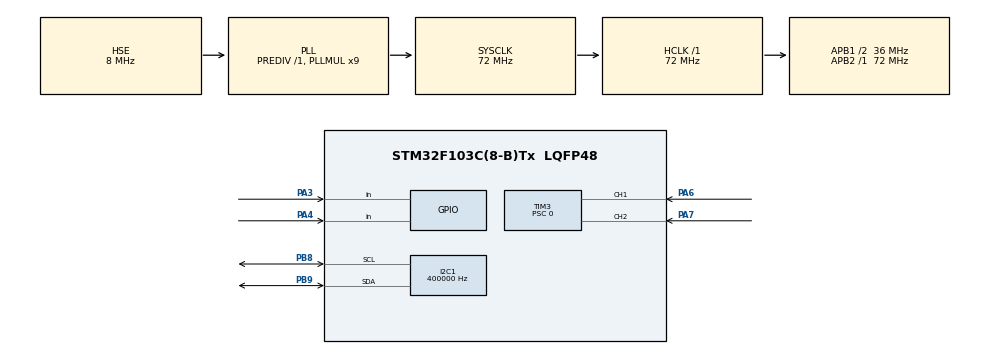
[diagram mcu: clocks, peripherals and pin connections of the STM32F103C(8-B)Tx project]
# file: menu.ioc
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I2C1.ClockSpeed=400000
I2C1.I2C_Mode=I2C_Fast
Mcu.Family=STM32F1
Mcu.Name=STM32F103C(8-B)Tx
Mcu.Package=LQFP48
NVIC.PriorityGroup=NVIC_PRIORITYGROUP_4
NVIC.TIM2_IRQn=true\:0\:0\:false\:false\:true\:true\:true\:true
PA13.Mode=Serial_Wire
PA13.Signal=SYS_JTMS-SWDIO
PA14.Mode=Serial_Wire
PA14.Signal=SYS_JTCK-SWCLK
PA3.GPIO_PuPd=GPIO_PULLUP
PA3.Signal=GPIO_Input
PA4.GPIO_PuPd=GPIO_PULLUP
PA4.Signal=GPIO_Input
PA6.Signal=S_TIM3_CH1
PA7.Signal=S_TIM3_CH2
PB8.Mode=I2C
PB8.Signal=I2C1_SCL
PB9.Mode=I2C
PB9.Signal=I2C1_SDA
PC14-OSC32_IN.Mode=LSE-External-Oscillator
PC14-OSC32_IN.Signal=RCC_OSC32_IN
PC15-OSC32_OUT.Mode=LSE-External-Oscillator
PC15-OSC32_OUT.Signal=RCC_OSC32_OUT
PD0-OSC_IN.Mode=HSE-External-Oscillator
PD0-OSC_IN.Signal=RCC_OSC_IN
PD1-OSC_OUT.Mode=HSE-External-Oscillator
PD1-OSC_OUT.Signal=RCC_OSC_OUT
ProjectManager.HeapSize=0x200
ProjectManager.StackSize=0x400
ProjectManager.TargetToolchain=MDK-ARM V5.32
RCC.AHBFreq_Value=72000000
RCC.APB1CLKDivider=RCC_HCLK_DIV2
RCC.APB1Freq_Value=36000000
RCC.APB1TimFreq_Value=72000000
RCC.APB2Freq_Value=72000000
RCC.APB2TimFreq_Value=72000000
RCC.HCLKFreq_Value=72000000
RCC.PLLMUL=RCC_PLL_MUL9
RCC.PLLSourceVirtual=RCC_PLLSOURCE_HSE
RCC.SYSCLKFreq_VALUE=72000000
RCC.SYSCLKSource=RCC_SYSCLKSOURCE_PLLCLK
RCC.USBFreq_Value=72000000
RTC.Date=13
RTC.Format=RTC_FORMAT_BCD
RTC.Hours=13
RTC.Minutes=51
RTC.Month=RTC_MONTH_DECEMBER
RTC.OutPut=RTC_OUTPUTSOURCE_ALARM
RTC.WeekDay=RTC_WEEKDAY_SATURDAY
RTC.Year=25
SH.S_TIM3_CH1.0=TIM3_CH1,Encoder_Interface
SH.S_TIM3_CH2.0=TIM3_CH2,Encoder_Interface
TIM2.AutoReloadPreload=TIM_AUTORELOAD_PRELOAD_ENABLE
TIM2.Period=1999
TIM2.Prescaler=7199
TIM3.EncoderMode=TIM_ENCODERMODE_TI12
TIM3.IC1Filter=0xf
TIM3.IC2Filter=0xf
TIM3.Prescaler=0
VP_RTC_VS_RTC_Activate.Mode=RTC_Enabled
VP_RTC_VS_RTC_Calendar.Mode=RTC_Calendar
VP_TIM2_VS_ClockSourceINT.Mode=Internal
board=custom

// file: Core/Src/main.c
/* USER CODE BEGIN Header */
/**
  ******************************************************************************
  * @file           : main.c
  * @brief          : Main program body
  ******************************************************************************
  * @attention
  *
  * Copyright (c) 2025 STMicroelectronics.
  * All rights reserved.
  *
  * This software is licensed under terms that can be found in the LICENSE file
  * in the root directory of this software component.
  * If no LICENSE file comes with this software, it is provided AS-IS.
  *
  ******************************************************************************
  */
/* USER CODE END Header */
#include "main.h"
#include "i2c.h"
#include "rtc.h"
#include "tim.h"
#include "gpio.h"

/* USER CODE BEGIN Includes */
#include "u8g2.h"												//导入u8g2库
#include "key.h"												//自定义按键
#include "string.h"
#include <math.h>
#include "encoder.h"										//自定义旋转编码器
#include "stdio.h"
/* USER CODE END Includes */

/* USER CODE BEGIN PV */
u8g2_t u8g2;														//u8g2句柄
#define OLED_I2C_ADDR   (0x3C<<1)				//OLED地址
/* USER CODE END PV */

void SystemClock_Config(void);

/* USER CODE BEGIN 0 */
																				//硬件II2
uint8_t u8x8_byte_hw_i2c(u8x8_t *u8x8, uint8_t msg, uint8_t arg_int, void *arg_ptr)
{
    static uint8_t  buffer[128];
    static uint8_t  buf_idx;

    switch(msg)
    {
    case U8X8_MSG_BYTE_INIT:
        break;
    case U8X8_MSG_BYTE_START_TRANSFER:
        buf_idx = 0;
        break;
    case U8X8_MSG_BYTE_SEND:
        {
            uint8_t *data = (uint8_t*)arg_ptr;
            while(arg_int--) buffer[buf_idx++] = *data++;
        }
        break;
    case U8X8_MSG_BYTE_END_TRANSFER:
        HAL_I2C_Master_Transmit(&hi2c1, OLED_I2C_ADDR,
                                buffer, buf_idx, 200);
        break;
    default:
        return 0;
    }
    return 1;
}

																				//u8g2延时函数
uint8_t u8x8_gpio_and_delay_stm32f1(u8x8_t *u8x8, uint8_t msg, uint8_t arg_int, void *arg_ptr)
{
    switch(msg)
    {
    case U8X8_MSG_DELAY_MILLI:
        HAL_Delay(arg_int);
        break;
    case U8X8_MSG_DELAY_I2C:
        for(uint16_t i=0;i<5*arg_int;i++) __NOP();
        break;
    default:
        return 0;
    }
    return 1;
}

void u8g2_init(void){										//u8g2初始化
	u8g2_Setup_ssd1306_i2c_128x64_noname_f(&u8g2,U8G2_R0,u8x8_byte_hw_i2c,u8x8_gpio_and_delay_stm32f1);		//硬件IIC
	u8g2_InitDisplay(&u8g2);
  u8g2_SetPowerSave(&u8g2, 0);
}

																				//动画函数
void animation(float *a, float *a_trg,int16_t n)
{
  if (*a != *a_trg)
  {
    if (fabs(*a - *a_trg) < 0.05f) *a = *a_trg;
    else *a += (*a_trg - *a) / (n / 10.0f);
  }
}

#define img_width 30										//菜单图标宽度
#define img_height 30										//菜单图标高度

																				//菜单图标
static uint8_t menu_img1[] = {
  0x00, 0x00, 0x00, 0x00, 0x00, 0x00, 0x00, 0x00,
  0x00, 0xff, 0x3f, 0x00, 0xc0, 0xff, 0xff, 0x00,
  0xc0, 0xff, 0xff, 0x00, 0xe0, 0xff, 0xff, 0x01,
  0xe0, 0xff, 0xff, 0x01, 0xf0, 0xff, 0xff, 0x03,
  0xf0, 0xff, 0xff, 0x03, 0xf8, 0xff, 0xff, 0x07,
  0xf8, 0xff, 0xff, 0x07, 0xfc, 0xff, 0xff, 0x0f,
  0xfc, 0x1f, 0xfe, 0x0f, 0xfe, 0x0f, 0xfc, 0x1f,
  0xfe, 0x0f, 0xfc, 0x1f, 0xfe, 0x0f, 0xfc, 0x1f,
  0xfe, 0x0f, 0xfc, 0x1f, 0xfc, 0x1f, 0xfe, 0x0f,
  0xfc, 0xff, 0xff, 0x0f, 0xf8, 0xff, 0xff, 0x07,
  0xf8, 0xff, 0xff, 0x07, 0xf0, 0xff, 0xff, 0x03,
  0xf0, 0xff, 0xff, 0x03, 0xe0, 0xff, 0xff, 0x01,
  0xe0, 0xff, 0xff, 0x01, 0xc0, 0xff, 0xff, 0x00,
  0xc0, 0xff, 0xff, 0x00, 0x00, 0xff, 0x3f, 0x00,
  0x00, 0x00, 0x00, 0x00, 0x00, 0x00, 0x00, 0x00
};

static uint8_t menu_img2[] = {
	0x00, 0x00, 0x00, 0x00, 0x00, 0x00, 0x00, 0x00,
  0x00, 0x00, 0x00, 0x00, 0xfe, 0xff, 0x07, 0x00,
  0xff, 0xff, 0x0f, 0x00, 0xff, 0xff, 0xff, 0x1f,
  0xff, 0xff, 0xff, 0x3f, 0xff, 0xff, 0xff, 0x3f,
  0xff, 0xff, 0xff, 0x3f, 0xff, 0xff, 0xff, 0x3f,
  0x00, 0x00, 0x00, 0x00, 0x00, 0x00, 0x00, 0x00,
  0xff, 0xff, 0xff, 0x3f, 0xff, 0xff, 0xff, 0x3f,
  0xff, 0xff, 0xff, 0x3f, 0xff, 0xff, 0xff, 0x3f,
  0xff, 0xff, 0xff, 0x3f, 0xff, 0xff, 0xff, 0x3f,
  0xff, 0xff, 0xff, 0x3f, 0xff, 0xff, 0xff, 0x3f,
  0xff, 0xff, 0xff, 0x3f, 0xff, 0xff, 0xff, 0x3f,
  0xff, 0xff, 0xff, 0x3f, 0xff, 0xff, 0xff, 0x3f,
  0xff, 0xff, 0xff, 0x3f, 0xff, 0xff, 0xff, 0x3f,
  0xfe, 0xff, 0xff, 0x1f, 0x00, 0x00, 0x00, 0x00,
  0x00, 0x00, 0x00, 0x00, 0x00, 0x00, 0x00, 0x00
};

static uint8_t menu_img3[] = {
  0x00, 0x00, 0x00, 0x00, 0x00, 0xe0, 0x00, 0x00,
  0x00, 0xa0, 0x00, 0x00, 0x00, 0xe0, 0x00, 0x00,
  0x00, 0x40, 0x00, 0x00, 0x00, 0x40, 0x00, 0x00,
  0x00, 0x40, 0x00, 0x00, 0x00, 0x40, 0x00, 0x00,
  0x00, 0x40, 0x00, 0x00, 0x00, 0x40, 0x00, 0x00,
  0x00, 0x40, 0x00, 0x00, 0x00, 0x40, 0x00, 0x00,
  0x00, 0xe0, 0x00, 0x00, 0x00, 0xf0, 0x01, 0x00,
  0xfe, 0xff, 0xff, 0x1f, 0xff, 0xff, 0xff, 0x3f,
  0xff, 0xff, 0xff, 0x3f, 0xff, 0xff, 0xff, 0x3f,
  0x3f, 0xfc, 0x9f, 0x3f, 0x9f, 0xf9, 0x9f, 0x3f,
  0xcf, 0xf3, 0x9f, 0x3f, 0xef, 0xf7, 0x03, 0x3c,
  0xef, 0xf7, 0x03, 0x3c, 0xcf, 0xf3, 0x9f, 0x3f,
  0x9f, 0xf9, 0x9f, 0x3f, 0x3f, 0xfc, 0x9f, 0x3f,
  0xff, 0xff, 0xff, 0x3f, 0xff, 0xff, 0xff, 0x3f,
  0xff, 0xff, 0xff, 0x3f, 0xfe, 0xff, 0xff, 0x1f
};

static uint8_t menu_img4[] = {
  0x00, 0x00, 0x00, 0x00, 0x78, 0x00, 0x80, 0x07,
  0x7c, 0x00, 0x80, 0x0f, 0x0e, 0x00, 0x00, 0x1c,
  0x06, 0x00, 0x00, 0x18, 0x06, 0x00, 0x00, 0x18,
  0x06, 0x00, 0x00, 0x18, 0x00, 0x00, 0x00, 0x00,
  0x00, 0x00, 0x00, 0x00, 0x00, 0x00, 0x00, 0x00,
  0x00, 0x00, 0x00, 0x00, 0x00, 0x00, 0x00, 0x00,
  0x00, 0x00, 0x00, 0x00, 0x00, 0x00, 0x00, 0x00,
  0x00, 0x00, 0x00, 0x00, 0x00, 0x00, 0x00, 0x00,
  0x00, 0x00, 0x00, 0x00, 0x00, 0x00, 0x00, 0x00,
  0x00, 0x00, 0x00, 0x00, 0x00, 0x00, 0x00, 0x00,
  0x00, 0x00, 0x00, 0x00, 0x00, 0x00, 0x00, 0x00,
  0x00, 0x00, 0x00, 0x00, 0x06, 0x00, 0x00, 0x18,
  0x06, 0x00, 0x00, 0x18, 0x06, 0x00, 0x00, 0x18,
  0x0e, 0x00, 0x00, 0x1c, 0xfc, 0x00, 0x80, 0x0f,
  0xf8, 0x00, 0x80, 0x07, 0x00, 0x00, 0x00, 0x00
};

static uint8_t menu_img5[] = {
  0x00, 0x00, 0x00, 0x00, 0x78, 0x00, 0x80, 0x07,
  0x7c, 0x00, 0x80, 0x0f, 0x0e, 0x00, 0x00, 0x1c,
  0x06, 0x00, 0x00, 0x18, 0x06, 0x00, 0x00, 0x18,
  0x06, 0x00, 0x00, 0x18, 0x00, 0x00, 0x00, 0x00,
  0x00, 0x00, 0x00, 0x00, 0x00, 0x00, 0x00, 0x00,
  0x00, 0x00, 0x00, 0x00, 0x00, 0x00, 0x00, 0x00,
  0x00, 0x00, 0x00, 0x00, 0x00, 0x00, 0x00, 0x00,
  0x00, 0x00, 0x00, 0x00, 0x00, 0x00, 0x00, 0x00,
  0x00, 0x00, 0x00, 0x00, 0x00, 0x00, 0x00, 0x00,
  0x00, 0x00, 0x00, 0x00, 0x00, 0x00, 0x00, 0x00,
  0x00, 0x00, 0x00, 0x00, 0x00, 0x00, 0x00, 0x00,
  0x00, 0x00, 0x00, 0x00, 0x06, 0x00, 0x00, 0x18,
  0x06, 0x00, 0x00, 0x18, 0x06, 0x00, 0x00, 0x18,
  0x0e, 0x00, 0x00, 0x1c, 0xfc, 0x00, 0x80, 0x0f,
  0xf8, 0x00, 0x80, 0x07, 0x00, 0x00, 0x00, 0x00
};

static uint8_t menu_img6[] = {
  0x00, 0x00, 0x00, 0x00, 0x78, 0x00, 0x80, 0x07,
  0x7c, 0x00, 0x80, 0x0f, 0x0e, 0x00, 0x00, 0x1c,
  0x06, 0x00, 0x00, 0x18, 0x06, 0x00, 0x00, 0x18,
  0x06, 0x00, 0x00, 0x18, 0x00, 0x00, 0x00, 0x00,
  0x00, 0x00, 0x00, 0x00, 0x00, 0x00, 0x00, 0x00,
  0x00, 0x00, 0x00, 0x00, 0x00, 0x00, 0x00, 0x00,
  0x00, 0x00, 0x00, 0x00, 0x00, 0x00, 0x00, 0x00,
  0x00, 0x00, 0x00, 0x00, 0x00, 0x00, 0x00, 0x00,
  0x00, 0x00, 0x00, 0x00, 0x00, 0x00, 0x00, 0x00,
  0x00, 0x00, 0x00, 0x00, 0x00, 0x00, 0x00, 0x00,
  0x00, 0x00, 0x00, 0x00, 0x00, 0x00, 0x00, 0x00,
  0x00, 0x00, 0x00, 0x00, 0x06, 0x00, 0x00, 0x18,
  0x06, 0x00, 0x00, 0x18, 0x06, 0x00, 0x00, 0x18,
  0x0e, 0x00, 0x00, 0x1c, 0xfc, 0x00, 0x80, 0x0f,
  0xf8, 0x00, 0x80, 0x07, 0x00, 0x00, 0x00, 0x00
};

static uint8_t *menu_imgs[] = {
	menu_img1,														//设置图标
	menu_img2,														//文件夹图标
	menu_img3,														//游戏图标
	menu_img4,														//空白图标
	menu_img5,														//空白图标
	menu_img6,														//空白图标
};

#define MENU_NUM 6											//菜单元素数目
#define SETTING_NUM 2										//设置元素数目
#define FOLDER_NUM 9										//文件夹元素数目
#define GAME_NUM 3											//游戏元素数目

int16_t keynum = 0;											//按键值(有前进后退两个按键)
int16_t encodernum;											//旋钮值
int16_t state = 0;											//当前页面(对应enum菜单层级的内容)
int16_t previous_state = 0;							//前一个页面(对应enum菜单层级的内容)
struct tm timedate;											//时间

enum 																		//菜单层级
{
  M_OPEN,																//开机动画
		M_MENU,															//菜单
			M_SETTING,												//设置
			M_FOLDER,													//文件夹
			M_GAME,														//游戏
				M_WINDOW,												//弹窗
};

typedef struct fps{											//帧率结构体(由于设置的定时时间是0.2s，所有需要b+5次a读取一次)
	uint16_t a;
	uint16_t b;
}FPS;

typedef	struct frame{										//矩形结构体(所有显示内容都是通过这个结构体实现的)
	float frame_x;												//目标x
	float frame_y;												//目标y
	float frame_w;												//目标w
	float frame_h;												//目标h
	float frame_old_x;										//目标x
	float frame_old_y;										//当前y
	float frame_old_w;										//当前w
	float frame_old_h;										//当前h
}FRAME;

typedef	struct text{										//文本结构体(用于和矩形结构体结合显示文字内容)
	char *str;														//文字
	int select;														//点击确定之后会进入的页面(对应enum菜单层级的内容)
	int value;														//显示该文本对应的数值，值为0-100，填-1表示该文本不显示数值
}TEXT;

typedef	struct m_state{									//页面状态结构体
	int select;														//该页面点击确定之后会进入的页面(对应enum菜单层级的内容)
	int state;														//当前页面状态，0是不在运行，1是在运行，同一时间只有一个1
	int previous;													//上一个页面对应的enum值
	int number;														//如果该页面有多个元素，记录该页面选中的是哪一个元素
	int list_num;													//该页面有几个元素(主要是为了将相似的SETTING,FOLDER,GAME页面功能合并在一起，只需要传入该结构体就可以区分这三个页面)
	TEXT *list_text;											//文本结构体
	FRAME *m_lists;												//矩形结构体
	void (*m_init)(FRAME *m_lists,TEXT *list_text,int LIST_NUM);   //用于SETTING,FOLDER,GAME页面，记录初始化函数
}M_STATE;

FPS fps;																//fps结构体实例化

TEXT menu_text[] = {										//菜单文本
	{"Setting",2,-1},
	{"Folder",3,-1},
	{"Game",4,-1},
	{"None",1,-1},
	{"None",1,-1},
	{"None",1,-1},
};

TEXT setting_text[] = {									//设置文本
	{"reset",0,-1},
	{"light",5,100},
};

TEXT folder_text[] = {									//文件夹文本
	{"Text1",3,-1},
	{"Tggt2",3,-1},
	{"Text3",3,-1},
	{"Welcome",3,-1},
	{"Gnosis",3,-1},
	{"1",3,-1},
	{"0-000",3,-1},
	{"zzz",3,-1},
	{"????",3,-1},
};

TEXT game_text[] = {										//游戏文本
	{"Snake",4,-1},
	{"Game of Life",4,-1},
	{"Dinosaur Running",4,-1},
};

FRAME frame_list[4];										//开机动画

FRAME menu_name;												//菜单名
FRAME m_menus[MENU_NUM];								//菜单图标
FRAME frame;														//选中光标
FRAME slider;														//右侧进度条

FRAME m_folders[FOLDER_NUM];						//文件夹列表
FRAME m_settings[SETTING_NUM];					//设置列表
FRAME m_games[GAME_NUM];								//游戏列表

FRAME m_window;													//弹窗

M_STATE m_states[6];										//页面状态

void open_init(void){										//开机动画初始化
	for(int16_t i =0;i<4;i++){
		frame_list[i].frame_x = -2;
		frame_list[i].frame_y = i*16;
		frame_list[i].frame_w = 0;
		frame_list[i].frame_h = 16;
		frame_list[i].frame_old_x = -2;
		frame_list[i].frame_old_y = i*16;
		frame_list[i].frame_old_w = 0;
		frame_list[i].frame_old_h = 16;
	}
}

void menu_init(void){										//菜单初始化
	for(int16_t i =0;i<MENU_NUM;i++){
		m_menus[i].frame_x = 0;
		m_menus[i].frame_y = 22;
		m_menus[i].frame_old_x = 128 + i*40;
		m_menus[i].frame_old_y = 22;
	}

	menu_name.frame_x = 49;
	menu_name.frame_y = 58;
	menu_name.frame_old_x = 49;
	menu_name.frame_old_y = 75;
}

																				//列表初始化(将SETTING,FOLDER,GAME统一为列表)
void list_init(FRAME *m_lists,TEXT *list_text,int LIST_NUM){
	for(int16_t i =0;i<LIST_NUM;i++){
		m_lists[i].frame_x = -6*(int)strlen(list_text[i].str);
		m_lists[i].frame_y = 11 + 16*i;
		m_lists[i].frame_old_x = -6*(int)strlen(list_text[i].str);
		m_lists[i].frame_old_y = 11 + 16*i;
	}

	frame.frame_x = 2;
	frame.frame_y = 0;
	frame.frame_w = 0;
	frame.frame_h = 16;
	frame.frame_old_x = 2;
	frame.frame_old_y = 0;
	frame.frame_old_w = 0;
	frame.frame_old_h = 16;

	slider.frame_x = 124;
	slider.frame_y = 0;
	slider.frame_w = 4;
	slider.frame_h = 0;
	slider.frame_old_x = 124;
	slider.frame_old_y = 0;
	slider.frame_old_w = 4;
	slider.frame_old_h = 0;
}

void window_init(void){									//弹窗初始化
	m_window.frame_x = 24;
	m_window.frame_y = -34;
	m_window.frame_w = 80;
	m_window.frame_h = 32;
	m_window.frame_old_x = 24;
	m_window.frame_old_y = -34;
	m_window.frame_old_w = 80;
	m_window.frame_old_h = 32;
}

void state_init(void){									//页面状态初始化
	for(int i = 0;i<6;i++){
		m_states[i].state = 0;
		m_states[i].number = 0;
	}

																				//对SETTING,FOLDER,GAME特殊处理
	m_states[M_SETTING].list_num = SETTING_NUM;
	m_states[M_SETTING].m_lists = m_settings;
	m_states[M_SETTING].list_text = setting_text;
	m_states[M_SETTING].m_init = list_init;

	m_states[M_FOLDER].list_num = FOLDER_NUM;
	m_states[M_FOLDER].m_lists = m_folders;
	m_states[M_FOLDER].list_text = folder_text;
	m_states[M_FOLDER].m_init = list_init;

	m_states[M_GAME].list_num = GAME_NUM;
	m_states[M_GAME].m_lists = m_games;
	m_states[M_GAME].list_text = game_text;
	m_states[M_GAME].m_init = list_init;
}

void show_fps(void){										//获取帧率
	static char buf[32];
	if(fps.a > 5){
		sprintf(buf, "fps:%d", fps.b);
		fps.a = 0;
		fps.b = 0;
	}
	fps.b++;
	u8g2_DrawStr(&u8g2,91,10,buf);
}

void show_time(void){										//获取时间，时间计算的函数位于rtc.c最末尾
	static char buf[32];
	My_Rtime(&timedate);
	sprintf(buf, "%02d:%02d", timedate.tm_hour - 8,timedate.tm_min);
	u8g2_DrawStr(&u8g2,0,10,buf);
}

void open_animation(void){							//开机动画
	static int16_t over = 1;							//开机动画有两部分，判断前一部分是否结束

	if(!m_states[M_OPEN].state){					//判断该页面是否是初次进入，是则初始化
		m_states[M_OPEN].state = 1;
		m_states[M_OPEN].select = M_OPEN;
		m_states[M_OPEN].previous = M_OPEN;
		open_init();
	}

	if(over){															//将动画分为两部分
		for(int16_t i =0;i<4;i++){
			if(i == 0 || frame_list[i-1].frame_old_w > (frame_list[i-1].frame_w/2))frame_list[i].frame_w = 132;
			animation(&frame_list[i].frame_old_w,&frame_list[i].frame_w,70);
		}
	}else{
		for(int16_t i =0;i<4;i++){
			if(i == 0 || frame_list[i-1].frame_old_w < 66)frame_list[i].frame_w = 0;
			animation(&frame_list[i].frame_old_w,&frame_list[i].frame_w,70);
		}
	}

																				//这里判断动画是否结束，进入下一个页面
	if(frame_list[3].frame_old_w == 132)over = 0;
	if(over == 0 && frame_list[3].frame_old_w == 0){state = M_MENU;over = 1;m_states[M_OPEN].state = 0;}

																				//设置字体类型
	u8g2_SetFont(&u8g2, u8g2_font_9x18B_mf);
	u8g2_DrawStr(&u8g2, 33, 38, "RECT UI");

	u8g2_SetDrawColor(&u8g2, 2);   				// 参数0画黑色，参数1画白色，参数2反色，实现重叠部分字体反色
	if(over){
		for(uint16_t i=0;i<4;i++){
			u8g2_DrawBox(&u8g2, (int)frame_list[i].frame_old_x, (int)frame_list[i].frame_old_y, (int)frame_list[i].frame_old_w, (int)frame_list[i].frame_old_h);
		}
	}else{
		for(uint16_t i=0;i<4;i++){
			u8g2_DrawBox(&u8g2, (int)(132 - frame_list[i].frame_old_w), (int)frame_list[i].frame_old_y, (int)frame_list[i].frame_old_w, (int)frame_list[i].frame_old_h);
		}
	}
}

void menu_animation(void){							//菜单显示
	static int16_t menunum = 0;						//记录选中项

																				//是否是第一次进入，执行初始化，并且判断前一个状态和当前是否相同，避免在当前页面点击无效按钮的时候触发初始化
	if( previous_state != state && !m_states[M_MENU].state){
		m_states[M_MENU].state = 1;
		m_states[M_MENU].previous = M_MENU;
		menu_init();
	}

	if(encodernum){												//读取编码器值
		if(encodernum < 0 && menunum > 0)menunum --;
		if(encodernum > 0 && menunum < MENU_NUM-1)menunum ++;
		encodernum = 0;
	}

	for(int16_t i =0;i<MENU_NUM;i++){			//配置动画
		m_menus[i].frame_x = 49+40*(i-menunum);
		if(i != menunum)m_menus[i].frame_y = 22;
		else m_menus[menunum].frame_y = 12;
		animation(&m_menus[i].frame_old_x,&m_menus[i].frame_x,20);
		animation(&m_menus[i].frame_old_y,&m_menus[i].frame_y,20);
	}
	if(fabs(m_menus[menunum].frame_old_x - m_menus[menunum].frame_x) > 8){
		menu_name.frame_y = 64;
	}else{
		menu_name.frame_old_y = menu_name.frame_y = 58;
	}
	menu_name.frame_old_x = menu_name.frame_x = (128 - 6*strlen(menu_text[menunum].str))/2;
	animation(&menu_name.frame_old_y,&menu_name.frame_y,20);

	u8g2_SetFont(&u8g2, u8g2_font_6x10_mf);
	show_fps();														//显示帧率
	show_time();													//显示时间
	for(int i=0;i<MENU_NUM;i++){					//绘制内容
		u8g2_DrawXBM(&u8g2, (int)m_menus[i].frame_old_x, (int)m_menus[i].frame_old_y, img_width, img_height, menu_imgs[i]);
	}
	u8g2_DrawStr(&u8g2, (int)menu_name.frame_old_x, (int)menu_name.frame_old_y, menu_text[menunum].str);

																				//记录当前选中的元素所对应的下一个页面的enum值
	m_states[M_MENU].select = menu_text[menunum].select;
}

																				//列表动画
void list_animation(int list_state, TEXT *list_text, FRAME *m_lists){
	static int16_t listnum = 0;						//当前选中项
	static int16_t framenum = 0;					//选中光标的位置

																				//是否是第一次进入，执行初始化，并且判断前一个状态和当前是否相同，
																				//避免在当前页面点击无效按钮的时候触发初始化，对弹窗页面特殊判断，因为弹窗页面也会使用该函数
	if( previous_state != state && state != M_WINDOW && !m_states[list_state].state){
		listnum = 0;
		framenum = 0;
		m_states[list_state].state = 1;
		m_states[list_state].select = list_text[listnum].select;
		m_states[list_state].previous = M_MENU;
		m_states[list_state].m_init(m_lists,list_text,m_states[list_state].list_num);
	}

	if(state != M_WINDOW && encodernum){	//当通过弹窗页面进入的时候，旋转编码器控制的是弹窗函数里面的数值，所以禁用这里的
		if(encodernum < 0 && listnum > 0){
			listnum --;
			if(framenum > 0)framenum --;
		}
		if(encodernum > 0 && listnum < m_states[list_state].list_num -1){
			listnum ++;
			if(framenum < 3)framenum ++;
		}
		encodernum = 0;
	}

																				//配置动画
	for(int16_t i =0;i<m_states[list_state].list_num;i++){
		m_lists[i].frame_y = 11+16*(i-(listnum-framenum));
		m_lists[i].frame_x = 7;
		animation(&m_lists[i].frame_old_y,&m_lists[i].frame_y,30);
		animation(&m_lists[i].frame_old_x,&m_lists[i].frame_x,30);
	}
	frame.frame_y = 16*framenum;
	frame.frame_w = 10+6*strlen(list_text[listnum].str);
	animation(&frame.frame_old_y,&frame.frame_y,30);
	animation(&frame.frame_old_w,&frame.frame_w,30);
	slider.frame_h = (11 - m_lists[0].frame_y)/(16*(m_states[list_state].list_num - 4))*64;
	animation(&slider.frame_old_h,&slider.frame_h,30);

	u8g2_SetFont(&u8g2, u8g2_font_6x10_mf);
																				//绘制动画
	for(uint16_t i=0;i<m_states[list_state].list_num;i++){
		char buf[12];
		sprintf(buf,"%d",list_text[i].value);
		u8g2_DrawStr(&u8g2, (int)m_lists[i].frame_old_x, (int)m_lists[i].frame_old_y, list_text[i].str);
																				//特殊判断，只有文本参数值大于0才显示
		if(list_text[i].value >= 0)u8g2_DrawStr(&u8g2, (int)(110 - m_lists[i].frame_old_x), (int)m_lists[i].frame_old_y, buf);
	}
	u8g2_DrawRBox(&u8g2, (int)slider.frame_old_x, (int)slider.frame_old_y, (int)slider.frame_old_w, (int)slider.frame_old_h,0);
	u8g2_SetDrawColor(&u8g2, 2);
	u8g2_DrawRBox(&u8g2, (int)frame.frame_old_x, (int)frame.frame_old_y, (int)frame.frame_old_w, (int)frame.frame_old_h,0);

																				//记录当前选中的元素所对应的下一个页面的enum值
	m_states[list_state].select = list_text[listnum].select;
	m_states[list_state].number = listnum;//记录当前选中元素的列表序号
}
																				//弹窗显示动画
void window_animation(int previous_state, TEXT *list_text, FRAME *m_lists, int list_num){
	if(!m_states[state].state){
		m_states[state].state = 1;
		m_states[state].select = state;
		m_states[state].previous = previous_state;
		window_init();
	}

	if(encodernum){
		if(encodernum < 0 && list_text[list_num].value > 0){
			list_text[list_num].value --;
		}
		if(encodernum > 0 && list_text[list_num].value < 100){
			list_text[list_num].value ++;
		}
	}

	m_window.frame_y = 16;
	animation(&m_window.frame_old_y,&m_window.frame_y,30);

	u8g2_SetFont(&u8g2, u8g2_font_6x10_mf);
	u8g2_SetDrawColor(&u8g2, 0);
	u8g2_DrawBox(&u8g2, (int)m_window.frame_old_x, (int)m_window.frame_old_y, (int)m_window.frame_old_w, (int)m_window.frame_old_h);
	u8g2_SetDrawColor(&u8g2, 1);
	u8g2_DrawFrame(&u8g2, (int)m_window.frame_old_x, (int)m_window.frame_old_y, (int)m_window.frame_old_w, (int)m_window.frame_old_h);
	u8g2_DrawBox(&u8g2, (int)m_window.frame_old_x + 10, (int)m_window.frame_old_y + 22, (int)6*list_text[list_num].value/10, 3);
	u8g2_DrawFrame(&u8g2, (int)m_window.frame_old_x + 9, (int)m_window.frame_old_y + 21, 62, 5);
	u8g2_DrawStr(&u8g2, (int)m_window.frame_old_x + 5, (int)m_window.frame_old_y + 13, "value:");
	char buf[12];
	sprintf(buf,"%d",list_text[list_num].value);
	u8g2_DrawStr(&u8g2, (int)m_window.frame_old_x + 57, (int)m_window.frame_old_y + 13, buf);

	u8g2_SetContrast(&u8g2,51*list_text[list_num].value/20);
}

																				//每0.2s中断一次，记录fps和读取旋转编码器
void HAL_TIM_PeriodElapsedCallback(TIM_HandleTypeDef *htim){
	if(htim == &htim2){
		fps.a++;
		encodernum = get_cnt();
	}
}

/* USER CODE END 0 */

int main(void)
{

  /* MCU Configuration--------------------------------------------------------*/

  /* Reset of all peripherals, Initializes the Flash interface and the Systick. */
  HAL_Init();

  /* Configure the system clock */
  SystemClock_Config();

  /* Initialize all configured peripherals */
  MX_GPIO_Init();
  MX_I2C1_Init();
  MX_TIM2_Init();
  MX_TIM3_Init();
  MX_RTC_Init();
  /* USER CODE BEGIN 2 */
	u8g2_init();													//u8g2初始化
	encoder_init();												//旋转编码器初始化
	state_init();													//页面状态初始化
  /* USER CODE END 2 */

  /* Infinite loop */
  /* USER CODE BEGIN WHILE */
	HAL_TIM_Base_Start_IT(&htim2);				//开启TIM中断
  while (1)
  {
		keynum = key_scanf();								//读取按键
		if(keynum){
			m_states[state].state = 0;				//将所有页面状态清0，让对应页面自己置1
																				//记录上一个页面，排除弹窗页面，因为previous_state用于传递给列表动画让其判断弹窗是从SETTINF,FOLDER,GAME哪一个页面进入的，
																				//如果再在弹窗页面点一次按钮previous_state就变成了M_WINDOW，list_animation就不知道是哪个页面了
			if(state != M_WINDOW)previous_state = state;
																				//前进
			if(keynum == 1)state = m_states[state].select;
																				//后退
			if(keynum == 2)state = m_states[state].previous;
		}

		u8g2_ClearBuffer(&u8g2);						//清空页面

		switch(state){
			case M_OPEN: open_animation();           	break;
      case M_MENU: 	 menu_animation();					break;
			case M_SETTING:
			case M_FOLDER:
			case M_GAME:
			case M_WINDOW:
				if(state == M_WINDOW){					//因为弹窗和列表是同时显示的，所以特殊判断
					list_animation(previous_state, m_states[previous_state].list_text,m_states[previous_state].m_lists);
					window_animation(previous_state,m_states[previous_state].list_text,m_states[previous_state].m_lists,m_states[previous_state].number);
				}else{
					list_animation(state, m_states[state].list_text,m_states[state].m_lists);
				}
																								break;
		}

		u8g2_SendBuffer(&u8g2); 						//绘制页面
    /* USER CODE END WHILE */

  }
}

void SystemClock_Config(void)
{
  RCC_OscInitTypeDef RCC_OscInitStruct = {0};
  RCC_ClkInitTypeDef RCC_ClkInitStruct = {0};
  RCC_PeriphCLKInitTypeDef PeriphClkInit = {0};

  /** Initializes the RCC Oscillators according to the specified parameters
  * in the RCC_OscInitTypeDef structure.
  */
  RCC_OscInitStruct.OscillatorType = RCC_OSCILLATORTYPE_LSI|RCC_OSCILLATORTYPE_HSE;
  RCC_OscInitStruct.HSEState = RCC_HSE_ON;
  RCC_OscInitStruct.HSEPredivValue = RCC_HSE_PREDIV_DIV1;
  RCC_OscInitStruct.HSIState = RCC_HSI_ON;
  RCC_OscInitStruct.LSIState = RCC_LSI_ON;
  RCC_OscInitStruct.PLL.PLLState = RCC_PLL_ON;
  RCC_OscInitStruct.PLL.PLLSource = RCC_PLLSOURCE_HSE;
  RCC_OscInitStruct.PLL.PLLMUL = RCC_PLL_MUL9;
  if (HAL_RCC_OscConfig(&RCC_OscInitStruct) != HAL_OK)
  {
    Error_Handler();
  }

  /** Initializes the CPU, AHB and APB buses clocks
  */
  RCC_ClkInitStruct.ClockType = RCC_CLOCKTYPE_HCLK|RCC_CLOCKTYPE_SYSCLK
                              |RCC_CLOCKTYPE_PCLK1|RCC_CLOCKTYPE_PCLK2;
  RCC_ClkInitStruct.SYSCLKSource = RCC_SYSCLKSOURCE_PLLCLK;
  RCC_ClkInitStruct.AHBCLKDivider = RCC_SYSCLK_DIV1;
  RCC_ClkInitStruct.APB1CLKDivider = RCC_HCLK_DIV2;
  RCC_ClkInitStruct.APB2CLKDivider = RCC_HCLK_DIV1;

  if (HAL_RCC_ClockConfig(&RCC_ClkInitStruct, FLASH_LATENCY_2) != HAL_OK)
  {
    Error_Handler();
  }
  PeriphClkInit.PeriphClockSelection = RCC_PERIPHCLK_RTC;
  PeriphClkInit.RTCClockSelection = RCC_RTCCLKSOURCE_LSI;
  if (HAL_RCCEx_PeriphCLKConfig(&PeriphClkInit) != HAL_OK)
  {
    Error_Handler();
  }
}

void Error_Handler(void)
{
  __disable_irq();
  while (1)
  {
  }
}
